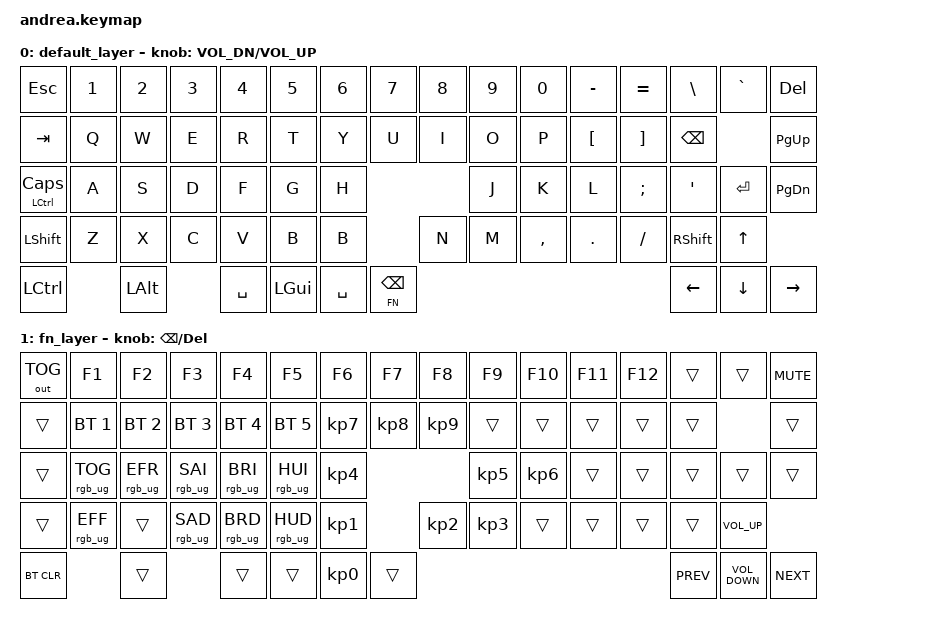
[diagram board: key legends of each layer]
#include <behaviors.dtsi>
#include <dt-bindings/zmk/keys.h>
#include <dt-bindings/zmk/bt.h>
#include <dt-bindings/zmk/outputs.h>
#include <dt-bindings/zmk/rgb.h>
#include <dt-bindings/zmk/ext_power.h>

#define FN 1

/ {
	keymap {
		compatible = "zmk,keymap";

		default_layer {
// -----------------------------------------------------------------------------------------
//   | ESC        | 1     | 2     | 3     | 4     | 5     | 6     | 7     | 8     | 9     | 0     | -     | =     | \ | GRAVE | DEL  |   
//   | TAB        | Q     | W     | E     | R     | T     | Y     | U     | I     | O     | P     | [     | ]     | BSPC  |         PGUP  |  
// |MT(LCTRL,CAPS)| A     | S     | D     | F     | G     | H     | J     | K     | L     | ;     | '     |         ENTER |         PGDN  |  
//   | SHIFT        | Z     | X     | C     | V     | B   | B	  | N     | M     | ,     | .     | /     | SHIFT |         UP    |
//   | CTRL       |         ALT   |  SPACE  |      GUI  |  SPACE  | LT(BSPC, 1)   |                                 LEFT  | DOWN  | RIGHT |   

			bindings = <
    &kp ESC          &kp NUM_1        &kp NUM_2     &kp NUM_3     &kp NUM_4     &kp NUM_5        &kp NUM_6        &kp NUM_7        &kp NUM_8        &kp NUM_9        &kp NUM_0        &kp MINUS        &kp EQL          &kp BSLH         &kp GRAVE &kp DEL  
    &kp TAB          &kp Q            &kp W         &kp E         &kp R         &kp T            &kp Y            &kp U            &kp I            &kp O            &kp P            &kp LBKT         &kp RBKT         &kp BKSP                       &kp PG_UP
    &mt LCTRL CAPS   &kp A            &kp S         &kp D         &kp F         &kp G            &kp H            &kp J            &kp K            &kp L            &kp SCLN         &kp QUOT                          &kp ENTER                        &kp PG_DN
    &kp LSHFT        &kp Z            &kp X         &kp C         &kp V         &kp B            &kp B		  &kp N            &kp M            &kp CMMA         &kp DOT          &kp FSLH         &kp RSHFT                         &kp UP
    &kp LCTRL                         &kp LALT                    &kp SPACE     &kp LGUI        &kp SPACE        &lt FN BSPC                                                                                              &kp LEFT         &kp DOWN        &kp RIGHT
			>;
			
			sensor-bindings = <&inc_dec_kp C_VOL_DN C_VOL_UP>; 
			
		};

		fn_layer {
// -----------------------------------------------------------------------------------------
//   | OUT_TOG | F1     | F2       | F3     | F4     | F5       | F6    | F7    | F8    | F9    | F10   | F11   | F12   | TRANS  | TRANS | MUTE  |
//   | TRANS |BT_SEL 1| BT_SEL 2 |BT_SEL 3|BT_SEL 4| BT_SEL 5 | NUMPAD_7  | NUMPAD_8  | NUMPAD_9 | TRANS | TRANS | TRANS | TRANS | TRANS       |         TRANS|
//   | TRANS |RGB_TOG |  RGB_EFR |RGB_SAI |RGB_BRI | RGB_HUI  | NUMPAD_4   | NUMPAD_5  | NUMPAD_6 | TRANS | TRANS | TRANS |         TRANS       |         TRANS|
//   | SHIFT | RGB_EFF| TRANS    |RGB_SAD |RGB_BRD | RGB_HUD  | NUMPAD_1   | NUMPAD_2   | NUMPAD_3 | TRANS | TRANS | TRANS  | TRANS |        VOL_UP |
//   | BT_CLR |         TRANS   |         TRANS | TRANS    |         NUMPAD_0 | TRANS  |                                            HOME   | VOL_DWN | END   |

			bindings = <
    &out OUT_TOG        &kp F1           &kp F2           &kp F3          &kp F4          &kp F5            &kp F6           &kp F7           &kp F8           &kp F9           &kp F10          &kp F11          &kp F12          &trans      &trans         &kp C_MUTE
    &trans       &bt BT_SEL 1     &bt BT_SEL 2     &bt BT_SEL 3    &bt BT_SEL 4    &bt BT_SEL 5      &kp KP_NUMBER_7        &kp KP_NUMBER_8         &kp KP_NUMBER_9  		&trans           &trans           &trans           &trans           &trans                          &trans
    &trans           &rgb_ug RGB_TOG  &rgb_ug RGB_EFR  &rgb_ug RGB_SAI &rgb_ug RGB_BRI &rgb_ug RGB_HUI   &kp KP_NUMBER_4          &kp KP_NUMBER_5         &kp KP_NUMBER_6        	&trans           &trans           &trans                            &trans                  &trans
    &trans        &rgb_ug RGB_EFF  &trans           &rgb_ug RGB_SAD &rgb_ug RGB_BRD &rgb_ug RGB_HUD   	&kp KP_NUMBER_1          &kp KP_NUMBER_2          &kp KP_NUMBER_3 		&trans        	 &trans           &trans           &trans                  &kp C_VOLUME_UP
    &bt BT_CLR                            &trans                         &trans          &trans        &kp KP_NUMBER_0           &trans                                                                                            &kp C_PREV         &kp C_VOLUME_DOWN      &kp C_NEXT        
			>;

			sensor-bindings = <&inc_dec_kp BKSP   DEL>;

		};

	};
};
